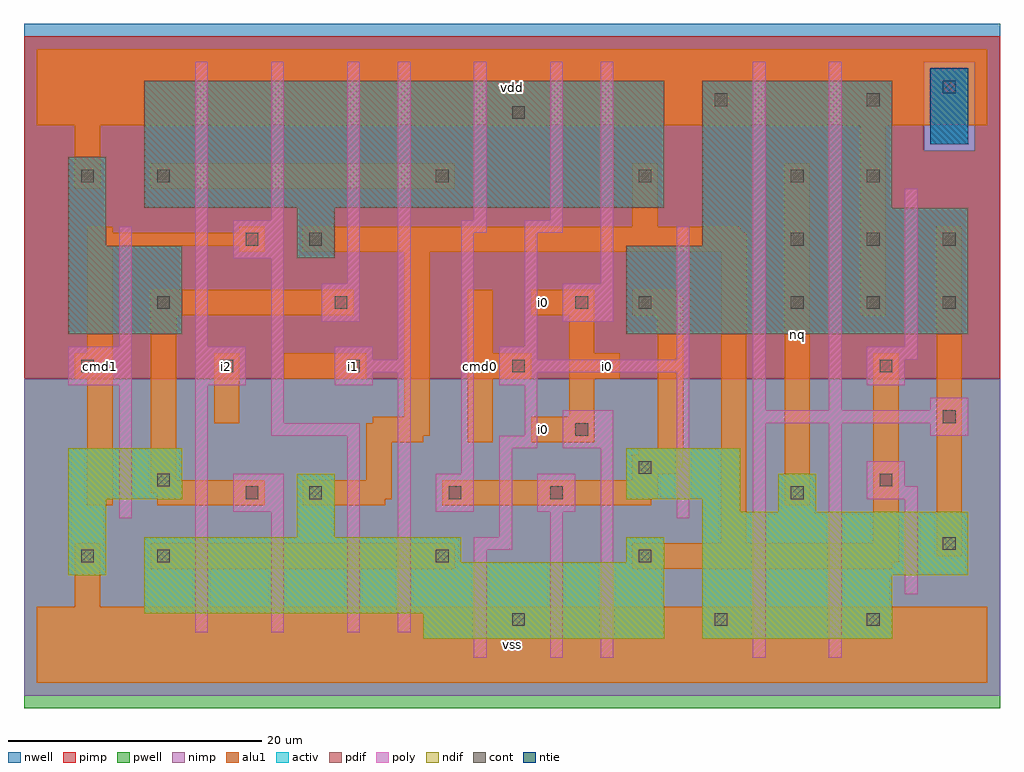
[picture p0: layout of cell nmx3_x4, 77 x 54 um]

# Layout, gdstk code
import gdstk
lib = gdstk.Library(unit=1e-6, precision=1e-09)
def R(c, l, rs):  # rectangles x0, y0, x1, y1
    for r in rs: c.add(gdstk.rectangle(r[:2], r[2:], *l))
def A(c, l, x, y, w, h, nx, ny, dx, dy):  # array of equal rectangles
    R(c, l, [(x+i*dx, y+j*dy, x+i*dx+w, y+j*dy+h) for i in range(nx) for j in range(ny)])
ndif = (3, 0)
pdif = (4, 0)
ntie = (5, 0)
cont = (25, 0)
pwell = (41, 0)
nwell = (42, 0)
activ = (43, 0)
pimp = (44, 0)
nimp = (45, 0)
poly = (46, 0)
alu1 = (49, 0)

nmx3_x4 = lib.new_cell('nmx3_x4')
R(nmx3_x4, ndif, [(30.5,3.5,49.5,5.5), (52.5,3.5,67.5,8.5), (8.5,5.5,49.5,9.5), (2.5,8.5,5.5,14.5), (52.5,8.5,73.5,13.5), (8.5,9.5,33.5,11.5), (46.5,9.5,49.5,11.5), (20.5,11.5,23.5,16.5), (52.5,13.5,55.5,14.5), (58.5,13.5,61.5,16.5), (2.5,14.5,11.5,18.5), (46.5,14.5,55.5,18.5)])
R(nmx3_x4, pdif, [(2.5,27.5,11.5,34.5), (46.5,27.5,73.5,34.5), (20.5,33.5,23.5,37.5), (2.5,34.5,5.5,41.5), (52.5,34.5,73.5,37.5), (8.5,37.5,49.5,47.5), (52.5,37.5,67.5,47.5)])
R(nmx3_x4, ntie, [(70.5,42.5,73.5,48.5)])
A(nmx3_x4, cont, 37.5, 4.5, 1, 1, 1, 3, 0, 20)
A(nmx3_x4, cont, 3.5, 9.5, 1, 1, 1, 3, 0, 15)
A(nmx3_x4, cont, 59.5, 29.5, 1, 1, 3, 2, 6, 5)
R(nmx3_x4, cont, [(53.5,4.5,54.5,5.5), (65.5,4.5,66.5,5.5), (9.5,9.5,10.5,10.5), (31.5,9.5,32.5,10.5), (47.5,9.5,48.5,10.5), (71.5,10.5,72.5,11.5), (16.5,14.5,17.5,15.5), (21.5,14.5,22.5,15.5), (32.5,14.5,33.5,15.5), (40.5,14.5,41.5,15.5), (59.5,14.5,60.5,15.5), (9.5,15.5,10.5,16.5), (66.5,15.5,67.5,16.5), (47.5,16.5,48.5,17.5), (42.5,19.5,43.5,20.5), (71.5,20.5,72.5,21.5), (14.5,24.5,15.5,25.5), (24.5,24.5,25.5,25.5), (66.5,24.5,67.5,25.5), (9.5,29.5,10.5,30.5), (23.5,29.5,24.5,30.5), (42.5,29.5,43.5,30.5), (47.5,29.5,48.5,30.5), (16.5,34.5,17.5,35.5), (21.5,34.5,22.5,35.5), (9.5,39.5,10.5,40.5), (31.5,39.5,32.5,40.5), (47.5,39.5,48.5,40.5), (59.5,39.5,60.5,40.5), (65.5,39.5,66.5,40.5), (53.5,45.5,54.5,46.5), (65.5,45.5,66.5,46.5), (71.5,46.5,72.5,47.5)])
R(nmx3_x4, pwell, [(-1,-2,76,24)])
R(nmx3_x4, nwell, [(-1,24,76,52)])
R(nmx3_x4, activ, [(30.5,3.5,49.5,5.5), (52.5,3.5,67.5,8.5), (8.5,5.5,49.5,9.5), (2.5,8.5,5.5,14.5), (52.5,8.5,73.5,13.5), (8.5,9.5,33.5,11.5), (46.5,9.5,49.5,11.5), (20.5,11.5,23.5,16.5), (52.5,13.5,55.5,14.5), (58.5,13.5,61.5,16.5), (2.5,14.5,11.5,18.5), (46.5,14.5,55.5,18.5), (2.5,27.5,11.5,34.5), (46.5,27.5,73.5,34.5), (20.5,33.5,23.5,37.5), (2.5,34.5,5.5,41.5), (52.5,34.5,73.5,37.5), (8.5,37.5,49.5,47.5), (52.5,37.5,67.5,47.5), (70.5,42.5,73.5,48.5)])
R(nmx3_x4, pimp, [(-1,24,76,42), (-1,42,70,49), (74,42,76,49), (-1,49,76,51)])
R(nmx3_x4, nimp, [(-1,-1,76,24), (70,42,74,49)])
R(nmx3_x4, poly, [(34.5,2,35.5,10.5), (40.5,2,41.5,13.5), (44.5,2,45.5,18.5), (56.5,2,57.5,20.5), (62.5,2,63.5,20.5), (12.5,4,13.5,23.5), (18.5,4,19.5,13.5), (24.5,4,25.5,19.5), (28.5,4,29.5,24.5), (68.5,7,69.5,14.5), (34.5,10.5,37.5,11.5), (36.5,11.5,37.5,18.5), (6.5,13,7.5,23.5), (50.5,13,51.5,24.5), (15.5,13.5,19.5,16.5), (31.5,13.5,34.5,16.5), (39.5,13.5,42.5,16.5), (65.5,14.5,69.5,15.5), (65.5,15.5,68.5,17.5), (33.5,16.5,34.5,35.5), (36.5,18.5,39.5,19.5), (41.5,18.5,45.5,21.5), (18.5,19.5,25.5,20.5), (38.5,19.5,39.5,23.5), (70.5,19.5,73.5,20.5), (18.5,20.5,19.5,33.5), (56.5,20.5,73.5,21.5), (56.5,21.5,57.5,49), (62.5,21.5,63.5,49), (70.5,21.5,73.5,22.5), (2.5,23.5,7.5,26.5), (12.5,23.5,16.5,26.5), (23.5,23.5,26.5,24.5), (36.5,23.5,39.5,24.5), (65.5,23.5,68.5,25.5), (23.5,24.5,29.5,25.5), (36.5,24.5,51.5,25.5), (23.5,25.5,26.5,26.5), (28.5,25.5,29.5,49), (36.5,25.5,39.5,26.5), (50.5,25.5,51.5,36), (65.5,25.5,69.5,26.5), (6.5,26.5,7.5,36), (12.5,26.5,13.5,49), (38.5,26.5,39.5,35.5), (68.5,26.5,69.5,39), (22.5,28.5,25.5,31.5), (41.5,28.5,45.5,31.5), (24.5,31.5,25.5,49), (44.5,31.5,45.5,49), (15.5,33.5,19.5,36.5), (33.5,35.5,35.5,36.5), (38.5,35.5,41.5,36.5), (18.5,36.5,19.5,49), (34.5,36.5,35.5,49), (40.5,36.5,41.5,49)])
R(nmx3_x4, alu1, [(0,0,75,6), (3,6,5,11), (9,9,33,11), (47,9,67.5,9.5), (47,9.5,68,11), (71,10,73,36), (54,11,56,34), (66,11,68,26), (4,14,6,24), (9.5,14,18,15), (21,14,27.5,14.5), (32,14,48.5,14.5), (59,14,61,41), (21,14.5,28,16), (32,14.5,49,16), (9,15,18,16), (9,16,11,29), (26,16,28,19), (47,16,49,16.5), (47,16.5,50.5,17), (47,17,51,18), (47.5,18,51,18.5), (49,18.5,51,29), (26,19,30.5,19.5), (34,19,36,24), (39,19,44,21), (26,19.5,31,20.5), (14,20.5,16,26), (26.5,20.5,31,21), (29,21,31,34), (42,21,44,24), (3,24,6,26), (19.5,24,26,26), (34,24,39,26), (42,24,46,26), (4,26,6,34.5), (34,26,36,31), (42,26,44,29), (9,29,25,31), (39,29,44,31), (47,29,51,30.5), (65,29,67,44), (47,30.5,50.5,31), (16,34,18,34.5), (21,34,56,35.5), (4,34.5,18,35.5), (4,35.5,6,36), (16,35.5,18,36), (21,35.5,55.5,36), (47,36,49,41), (3,39,5,44), (9,39,33,41), (0,44,75,50)])
nmx3_x4.add(gdstk.Label('cmd1', (5,25), layer=49, texttype=0))
nmx3_x4.add(gdstk.Label('i2', (15,25), layer=49, texttype=0))
nmx3_x4.add(gdstk.Label('i1', (25,25), layer=49, texttype=0))
nmx3_x4.add(gdstk.Label('vss', (37.5,3), layer=49, texttype=0))
nmx3_x4.add(gdstk.Label('i0', (40,20), layer=49, texttype=0))
nmx3_x4.add(gdstk.Label('cmd0', (35,25), layer=49, texttype=0))
nmx3_x4.add(gdstk.Label('i0', (40,30), layer=49, texttype=0))
nmx3_x4.add(gdstk.Label('vdd', (37.5,47), layer=49, texttype=0))
nmx3_x4.add(gdstk.Label('i0', (45,25), layer=49, texttype=0))
nmx3_x4.add(gdstk.Label('nq', (60,27.5), layer=49, texttype=0))

lib.write_gds('nmx3_x4.gds')
